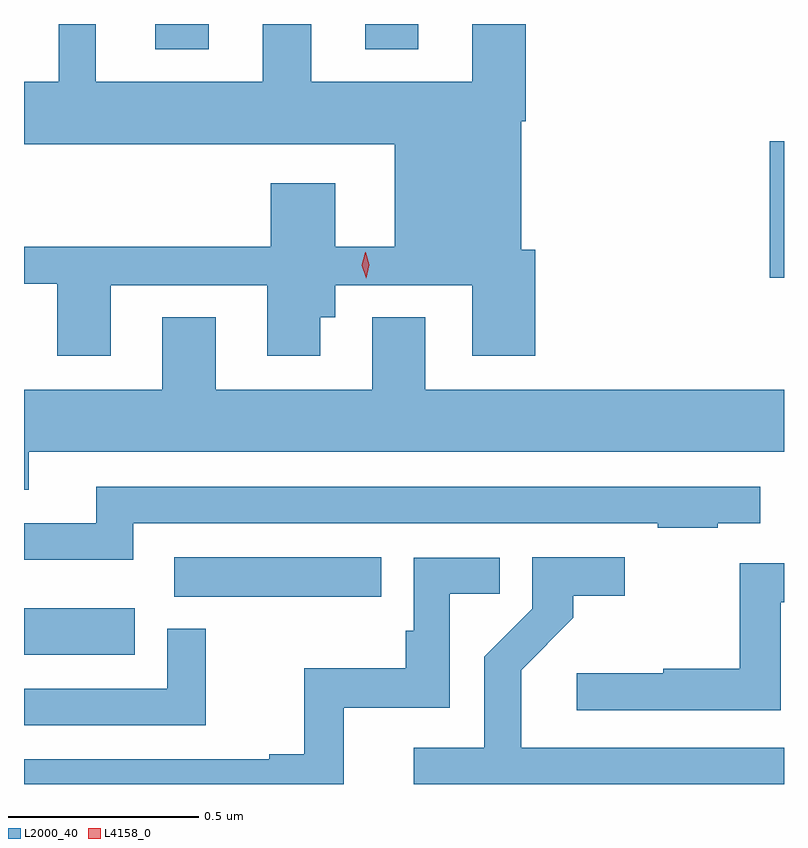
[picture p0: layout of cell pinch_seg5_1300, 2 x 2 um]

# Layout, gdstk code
import gdstk
lib = gdstk.Library(unit=1e-6, precision=1e-09)
def R(c, l, rs):  # rectangles x0, y0, x1, y1
    for r in rs: c.add(gdstk.rectangle(r[:2], r[2:], *l))
def P(c, l, *ps):  # polygons
    for p in ps: c.add(gdstk.Polygon(p, *l))
L2000_40 = (2000, 40)
L4158_0 = (4158, 0)

pinch_seg5_1300 = lib.new_cell('pinch_seg5_1300')
R(pinch_seg5_1300, L2000_40, [(447.409,864.218,447.701,864.34), (447.804,864.371,448.349,864.475), (449.372,865.21,449.409,865.57), (447.755,865.811,447.895,865.878), (448.307,865.811,448.447,865.878)])
P(pinch_seg5_1300, L2000_40, [(447.637,865.191),(448.049,865.191),(448.049,865.005),(448.189,865.005),(448.189,865.106),(448.228,865.106),(448.228,865.191),(448.589,865.191),(448.589,865.005),(448.754,865.005),(448.754,865.284),(448.717,865.284),(448.717,865.622),(448.73,865.622),(448.73,865.878),(448.589,865.878),(448.589,865.726),(448.165,865.726),(448.165,865.878),(448.037,865.878),(448.037,865.726),(447.598,865.726),(447.598,865.878),(447.5,865.878),(447.5,865.726),(447.409,865.726),(447.409,865.562),(448.385,865.562),(448.385,865.292),(448.228,865.292),(448.228,865.459),(448.058,865.459),(448.058,865.292),(447.409,865.292),(447.409,865.194),(447.497,865.194),(447.497,865.005),(447.637,865.005)],
  [(447.421,864.752),(449.409,864.752),(449.409,864.916),(448.465,864.916),(448.465,865.106),(448.325,865.106),(448.325,864.916),(447.913,864.916),(447.913,865.106),(447.773,865.106),(447.773,864.916),(447.409,864.916),(447.409,864.653),(447.421,864.653)],
  [(447.696,864.564),(449.077,864.564),(449.077,864.552),(449.234,864.552),(449.234,864.564),(449.347,864.564),(449.347,864.66),(447.599,864.66),(447.599,864.564),(447.409,864.564),(447.409,864.468),(447.696,864.468)],
  [(449.409,863.973),(448.717,863.973),(448.717,864.178),(448.855,864.316),(448.855,864.374),(448.99,864.374),(448.99,864.475),(448.746,864.475),(448.746,864.339),(448.62,864.213),(448.62,863.973),(448.434,863.973),(448.434,863.878),(449.409,863.878)],
  [(448.25,864.079),(448.53,864.079),(448.53,864.379),(448.661,864.379),(448.661,864.474),(448.434,864.474),(448.434,864.281),(448.414,864.281),(448.414,864.182),(448.147,864.182),(448.147,863.956),(448.055,863.956),(448.055,863.943),(447.409,863.943),(447.409,863.878),(448.25,863.878)],
  [(449.4,864.356),(449.409,864.356),(449.409,864.459),(449.292,864.459),(449.292,864.181),(449.091,864.181),(449.091,864.17),(448.863,864.17),(448.863,864.072),(449.4,864.072)],
  [(447.887,864.286),(447.786,864.286),(447.786,864.129),(447.409,864.129),(447.409,864.033),(447.887,864.033)])
P(pinch_seg5_1300, L4158_0, [(448.309,865.209),(448.309,865.209),(448.298,865.243),(448.307,865.277),(448.307,865.278),(448.308,865.277),(448.318,865.244),(448.309,865.209)])

lib.write_gds('pinch_seg5_1300.gds')
